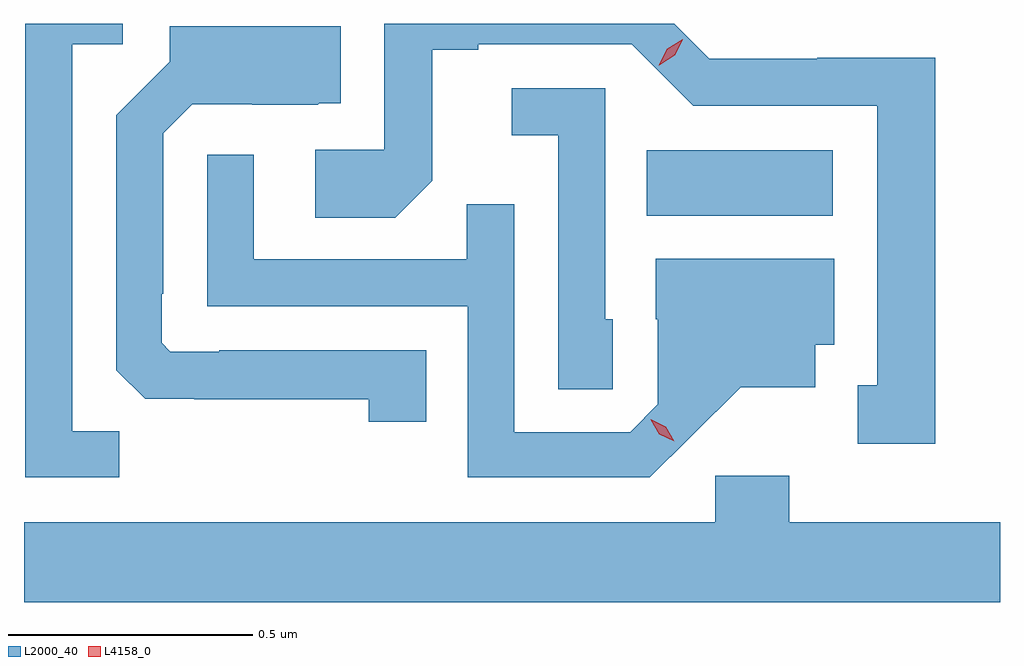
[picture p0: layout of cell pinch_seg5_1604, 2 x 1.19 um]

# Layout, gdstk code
import gdstk
lib = gdstk.Library(unit=1e-6, precision=1e-09)
def R(c, l, rs):  # rectangles x0, y0, x1, y1
    for r in rs: c.add(gdstk.rectangle(r[:2], r[2:], *l))
def P(c, l, *ps):  # polygons
    for p in ps: c.add(gdstk.Polygon(p, *l))
L2000_40 = (2000, 40)
L4158_0 = (4158, 0)

pinch_seg5_1604 = lib.new_cell('pinch_seg5_1604')
R(pinch_seg5_1604, L2000_40, [(303.202,872.204,303.583,872.338)])
P(pinch_seg5_1604, L2000_40, [(302.121,871.763),(302.025,871.763),(302.025,872.556),(302.128,872.556),(302.128,872.598),(301.929,872.598),(301.929,871.668),(302.121,871.668)],
  [(303.793,872.528),(303.552,872.528),(303.552,872.526),(303.33,872.526),(303.258,872.598),(302.664,872.598),(302.664,872.34),(302.523,872.34),(302.523,872.2),(302.687,872.2),(302.763,872.276),(302.763,872.544),(302.857,872.544),(302.857,872.556),(303.171,872.556),(303.297,872.43),(303.674,872.43),(303.674,871.857),(303.635,871.857),(303.635,871.737),(303.793,871.737)],
  [(302.75,871.929),(302.326,871.929),(302.326,871.926),(302.226,871.926),(302.208,871.944),(302.208,872.044),(302.211,872.044),(302.211,872.373),(302.271,872.433),(302.394,872.433),(302.394,872.432),(302.528,872.432),(302.531,872.435),(302.575,872.435),(302.575,872.593),(302.225,872.593),(302.225,872.52),(302.115,872.41),(302.115,871.888),(302.174,871.829),(302.275,871.829),(302.275,871.828),(302.632,871.828),(302.632,871.782),(302.75,871.782)],
  [(303.132,871.992),(303.117,871.992),(303.117,872.466),(302.925,872.466),(302.925,872.369),(303.021,872.369),(303.021,871.849),(303.132,871.849)],
  [(303.292,871.751),(303.395,871.853),(303.547,871.853),(303.547,871.94),(303.586,871.94),(303.586,872.116),(303.221,872.116),(303.221,871.992),(303.225,871.992),(303.225,871.818),(303.168,871.761),(302.931,871.761),(302.931,872.228),(302.833,872.228),(302.833,872.115),(302.397,872.115),(302.397,872.329),(302.301,872.329),(302.301,872.019),(302.835,872.019),(302.835,871.668),(303.208,871.668)],
  [(303.926,871.576),(303.494,871.576),(303.494,871.672),(303.342,871.672),(303.342,871.576),(301.926,871.576),(301.926,871.412),(303.926,871.412)])
P(pinch_seg5_1604, L4158_0, [(303.227,872.513),(303.227,872.513),(303.244,872.546),(303.276,872.566),(303.276,872.566),(303.276,872.565),(303.259,872.533),(303.228,872.513)],
  [(303.258,871.742),(303.228,871.757),(303.21,871.786),(303.21,871.787),(303.21,871.787),(303.241,871.772),(303.258,871.742),(303.258,871.742)])

lib.write_gds('pinch_seg5_1604.gds')
